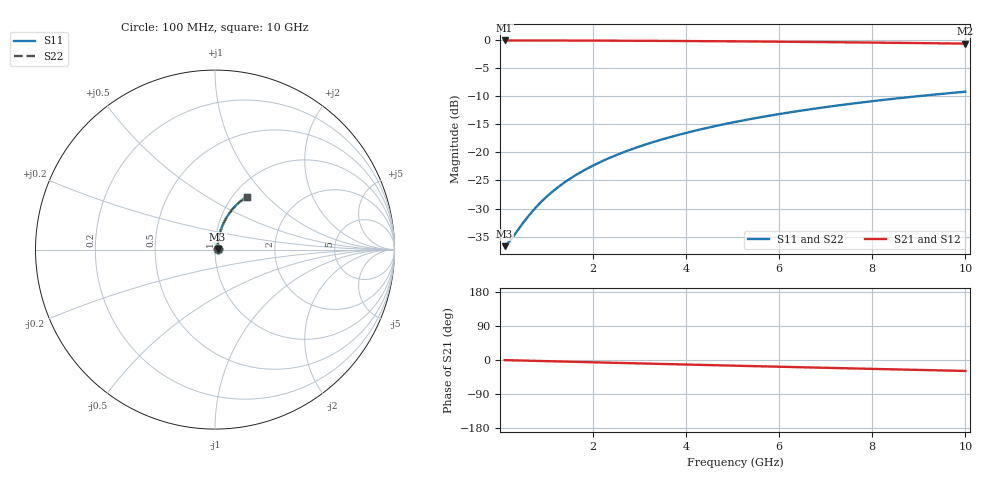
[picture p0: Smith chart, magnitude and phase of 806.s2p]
# Hz S RI R 50.00
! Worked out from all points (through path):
!   100 points, 100 MHz to 10 GHz, reference 50 ohm
!   highest |S21| = -0.12 dB at 100 MHz (marker M1); lowest = -0.7 dB at 10 GHz (marker M2)
!   group delay of S21, straight-line fit = 8.04 ps
!   lowest |S11| = -36.7 dB at 100 MHz (marker M3), VSWR 1.03, Z = 51.4 + j0.379 ohm
!   |S11| at or under -10 dB: start of sweep to 9.016 GHz
!   |S22| runs from -36.7 to -9.2 dB; largest |S21 - S12| = 0
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1e8  0.0142 0.00368  0.9858 -0.00517  0.9858 -0.00517  0.0142 0.00368
2e8  0.0144 0.00736  0.9856 -0.0103  0.9856 -0.0103  0.0144 0.00736
6e8  0.0152 0.0221  0.9848 -0.031  0.9848 -0.031  0.0152 0.0221
7e8  0.0155 0.0257  0.9845 -0.0362  0.9845 -0.0362  0.0155 0.0257
9e8  0.0162 0.0331  0.9837 -0.0465  0.9837 -0.0465  0.0162 0.0331
1.1e9  0.017 0.0404  0.9829 -0.0568  0.9829 -0.0568  0.017 0.0404
1.3e9  0.018 0.0476  0.9818 -0.067  0.9818 -0.067  0.018 0.0476
1.5e9  0.0191 0.0549  0.9807 -0.0773  0.9807 -0.0773  0.0191 0.0549
1.8e9  0.021 0.0657  0.9786 -0.0926  0.9786 -0.0926  0.021 0.0657
2.1e9  0.0233 0.0765  0.9762 -0.1078  0.9762 -0.1078  0.0233 0.0765
2.5e9  0.0269 0.0906  0.9724 -0.1279  0.9724 -0.1279  0.0269 0.0906
2.9e9  0.031 0.1046  0.968 -0.1479  0.968 -0.1479  0.031 0.1046
3.4e9  0.0369 0.1217  0.9617 -0.1725  0.9617 -0.1725  0.0369 0.1217
3.8e9  0.0423 0.1352  0.956 -0.1919  0.956 -0.1919  0.0423 0.1352
4.2e9  0.0482 0.1483  0.9498 -0.2111  0.9498 -0.2111  0.0482 0.1483
4.6e9  0.0546 0.1611  0.943 -0.2299  0.943 -0.2299  0.0546 0.1611
5.1e9  0.0633 0.1767  0.9337 -0.253  0.9337 -0.253  0.0633 0.1767
5.9e9  0.0786 0.2005  0.9174 -0.2888  0.9174 -0.2888  0.0786 0.2005
6.7e9  0.0956 0.2226  0.8992 -0.323  0.8992 -0.323  0.0956 0.2226
7.5e9  0.1141 0.2431  0.8794 -0.3556  0.8794 -0.3556  0.1141 0.2431
8.4e9  0.1364 0.2641  0.8555 -0.3902  0.8555 -0.3902  0.1364 0.2641
1e10  0.1791 0.2955  0.8093 -0.446  0.8093 -0.446  0.1791 0.2955
